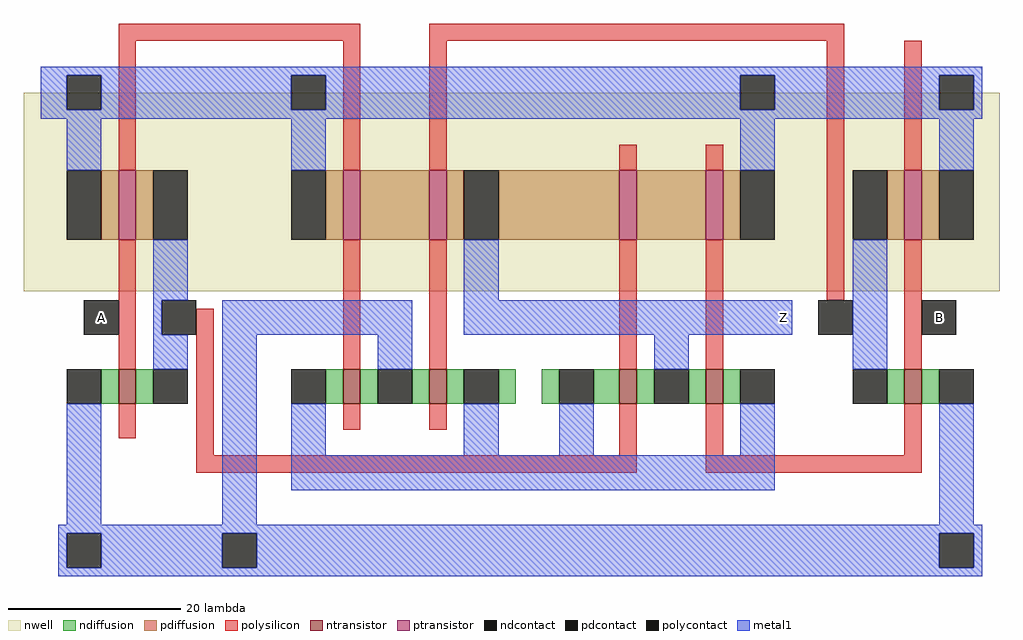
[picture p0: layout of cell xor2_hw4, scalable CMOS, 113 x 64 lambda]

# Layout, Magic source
magic
tech scmos
<< nwell >>
rect -62 -19 51 4
<< ntransistor >>
rect -51 -32 -49 -28
rect -25 -32 -23 -28
rect -15 -32 -13 -28
rect 7 -32 9 -28
rect 17 -32 19 -28
rect 40 -32 42 -28
<< ptransistor >>
rect -51 -13 -49 -5
rect -25 -13 -23 -5
rect -15 -13 -13 -5
rect 7 -13 9 -5
rect 17 -13 19 -5
rect 40 -13 42 -5
<< ndiffusion >>
rect -53 -32 -51 -28
rect -49 -32 -47 -28
rect -27 -32 -25 -28
rect -23 -32 -21 -28
rect -17 -32 -15 -28
rect -13 -32 -11 -28
rect -7 -32 -5 -28
rect -2 -32 0 -28
rect 4 -32 7 -28
rect 9 -32 11 -28
rect 15 -32 17 -28
rect 19 -32 21 -28
rect 38 -32 40 -28
rect 42 -32 44 -28
<< pdiffusion >>
rect -53 -13 -51 -5
rect -49 -13 -47 -5
rect -27 -13 -25 -5
rect -23 -13 -15 -5
rect -13 -13 -11 -5
rect -7 -13 7 -5
rect 9 -13 17 -5
rect 19 -13 21 -5
rect 38 -13 40 -5
rect 42 -13 44 -5
<< ndcontact >>
rect -57 -32 -53 -28
rect -47 -32 -43 -28
rect -31 -32 -27 -28
rect -21 -32 -17 -28
rect -11 -32 -7 -28
rect 0 -32 4 -28
rect 11 -32 15 -28
rect 21 -32 25 -28
rect 34 -32 38 -28
rect 44 -32 48 -28
rect -57 -51 -53 -47
rect -39 -51 -35 -47
rect 44 -51 48 -47
<< pdcontact >>
rect -57 2 -53 6
rect -31 2 -27 6
rect 21 2 25 6
rect -57 -13 -53 -5
rect -47 -13 -43 -5
rect -31 -13 -27 -5
rect -11 -13 -7 -5
rect 21 -13 25 -5
rect 44 2 48 6
rect 34 -13 38 -5
rect 44 -13 48 -5
<< polysilicon >>
rect -51 10 -23 12
rect -51 -5 -49 10
rect -25 -5 -23 10
rect -15 10 33 12
rect -15 -5 -13 10
rect 7 -5 9 -2
rect 17 -5 19 -2
rect -51 -28 -49 -13
rect -51 -36 -49 -32
rect -42 -38 -40 -21
rect -25 -28 -23 -13
rect -15 -28 -13 -13
rect 7 -28 9 -13
rect 17 -28 19 -13
rect 31 -20 33 10
rect 40 -5 42 10
rect 40 -28 42 -13
rect -25 -35 -23 -32
rect -15 -35 -13 -32
rect 7 -38 9 -32
rect -42 -40 9 -38
rect 17 -38 19 -32
rect 40 -38 42 -32
rect 17 -40 42 -38
<< polycontact >>
rect -55 -24 -51 -20
rect -46 -24 -42 -20
rect 30 -24 34 -20
rect 42 -24 46 -20
<< metal1 >>
rect -60 6 49 7
rect -60 2 -57 6
rect -53 2 -31 6
rect -27 2 21 6
rect 25 2 44 6
rect 48 2 49 6
rect -60 1 49 2
rect -57 -5 -53 1
rect -31 -5 -27 1
rect 21 -5 25 1
rect 44 -5 48 1
rect -47 -20 -43 -13
rect -11 -20 -7 -13
rect -47 -24 -46 -20
rect -39 -24 -17 -20
rect -11 -24 27 -20
rect -47 -28 -43 -24
rect -57 -46 -53 -32
rect -39 -46 -35 -24
rect -21 -28 -17 -24
rect 11 -28 15 -24
rect 34 -28 38 -13
rect -31 -38 -27 -32
rect -11 -38 -7 -32
rect 0 -38 4 -32
rect 21 -38 25 -32
rect -31 -42 25 -38
rect 44 -46 48 -32
rect -58 -47 49 -46
rect -58 -51 -57 -47
rect -53 -51 -39 -47
rect -35 -51 44 -47
rect 48 -51 49 -47
rect -58 -52 49 -51
<< labels >>
rlabel polycontact -53 -22 -53 -22 1 A
rlabel metal1 26 -22 26 -22 1 Z
rlabel polycontact 44 -22 44 -22 1 B
<< end >>
